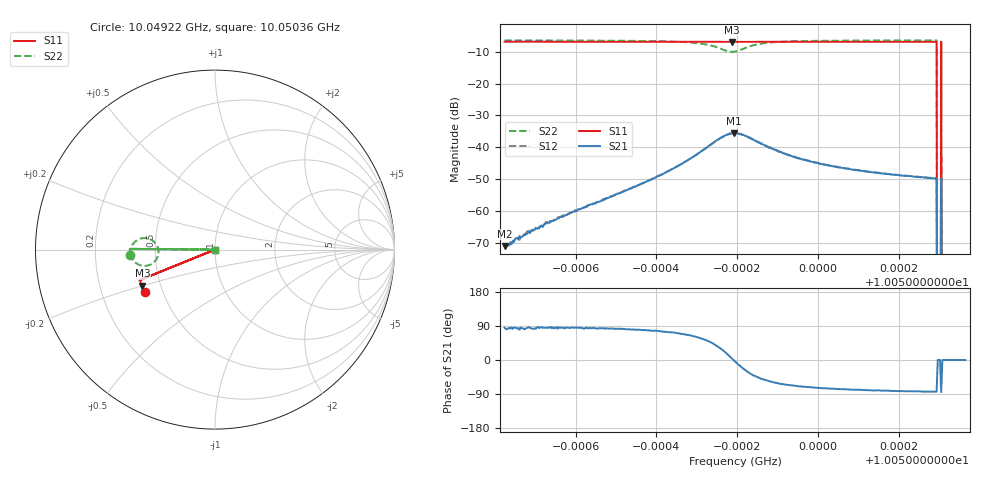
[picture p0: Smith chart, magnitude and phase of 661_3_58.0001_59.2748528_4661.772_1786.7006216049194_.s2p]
#  HZ  S  RI  R  50.00
! Rohde & Schwarz Vector Network Analyzer
! Rohde-Schwarz,ZNB20-2Port,1311601062101988,3.16
! Created: UTC 3/21/2024, 1:19:58 AM
! freq[Hz]  re:S11  im:S11  re:S21  im:S21  re:S12  im:S12  re:S22  im:S22
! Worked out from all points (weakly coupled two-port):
!   401 points, 10.04922 GHz to 10.05036 GHz, reference 50 ohm
!   highest |S21| = -35.58 dB at 10.04979 GHz (marker M1); lowest = -71.1 dB at 10.04922 GHz (marker M2)
!   lowest |S11| = -6.9 dB at 10.04979 GHz (marker M3), VSWR 2.65, Z = 19.8 - j9.95 ohm
!   |S11| at or under -10 dB: 10.05029 GHz to 10.0503 GHz (11.31 kHz wide, 0.000113 % of centre); 10.0503 GHz to end of sweep
!   |S22| runs from - to -6.5 dB; largest |S21 - S12| = 0.0014
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1.0049224e10  -0.3897 -0.2337  2.23e-05 0.000279  4.1e-05 0.000279  -0.474 -0.032
1.004933e10  -0.3931 -0.2275  5.16e-05 0.000634  4.56e-06 0.000667  -0.4735 -0.0215
1.0049415e10  -0.3958 -0.2226  0.000114 0.00109  1.64e-05 0.00109  -0.4725 -0.0118
1.0049606e10  -0.4015 -0.2111  0.000852 0.00346  0.000643 0.00349  -0.4619 0.0224
1.0049669e10  -0.4032 -0.2071  0.00218 0.00538  0.00186 0.0055  -0.4463 0.043
1.0049737e10  -0.4046 -0.2027  0.00804 0.00798  0.00747 0.00844  -0.3866 0.0642
1.004976e10  -0.4048 -0.2013  0.0124 0.00687  0.0117 0.00762  -0.3467 0.0494
1.0049786e10  -0.4048 -0.2003  0.0165 0.00134  0.0162 0.00273  -0.3152 -0.00616
1.0049792e10  -0.4049 -0.2001  0.0166 -0.000334  0.0166 0.000981  -0.3155 -0.0222
1.0049794e10  -0.4051 -0.2  0.0164 -0.00114  0.0165 0.000143  -0.3168 -0.03
1.0049826e10  -0.4062 -0.199  0.0124 -0.00759  0.013 -0.0066  -0.3646 -0.0857
1.0049866e10  -0.4078 -0.1969  0.00686 -0.00846  0.00735 -0.00818  -0.4215 -0.0856
1.004992e10  -0.4098 -0.1935  0.00325 -0.00704  0.00381 -0.00688  -0.453 -0.063
1.0049985e10  -0.4117 -0.1894  0.00178 -0.0056  0.00214 -0.00552  -0.4659 -0.0426
1.0050176e10  -0.4166 -0.1778  0.000577 -0.00372  0.000786 -0.00368  -0.4743 -0.00986
1.0050287e10  -0.4192 -0.171  0.000387 -0.0032  0.000529 -0.00321  -0.4752 0.00255
1.0050296e10  0 0  0 0  0 0  0 0
1.0050299e10  0 0  0 0  0 0  0 0
1.0050302e10  0 0  0 0  0 0  0 0
1.005031e10  0 0  0 0  0 0  0 0
1.0050313e10  0 0  0 0  0 0  0 0
1.0050364e10  0 0  0 0  0 0  0 0
